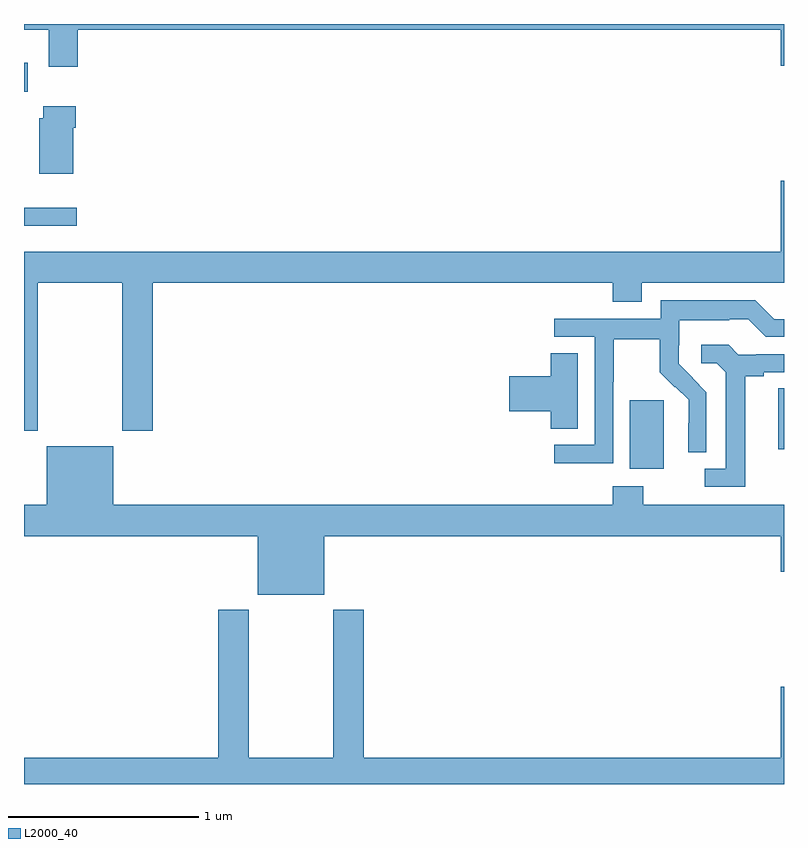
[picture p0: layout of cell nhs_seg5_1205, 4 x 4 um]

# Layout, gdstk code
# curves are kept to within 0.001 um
import gdstk
lib = gdstk.Library(unit=1e-6, precision=1e-09)
def R(c, l, rs):  # rectangles x0, y0, x1, y1
    for r in rs: c.add(gdstk.rectangle(r[:2], r[2:], *l))
def P(c, l, *ps):  # polygons
    for p in ps: c.add(gdstk.Polygon(p, *l))
L2000_40 = (2000, 40)

nhs_seg5_1205 = lib.new_cell('nhs_seg5_1205')
R(nhs_seg5_1205, L2000_40, [(188.189,846.458,188.368,846.819), (188.969,846.561,189,846.881), (185,847.736,185.278,847.833), (185,848.442,185.02,848.596)])
P(nhs_seg5_1205, L2000_40, [(185.282,848.768),(188.984,848.768),(188.984,848.58),(189,848.58),(189,848.799),(185,848.799),(185,848.768),(185.129,848.768),(185.129,848.574),(185.282,848.574)],
  [(185.26,848.252),(185.273,848.252),(185.273,848.365),(185.102,848.365),(185.102,848.304),(185.081,848.304),(185.081,848.012),(185.26,848.012)],
  [(185,846.657),(185.073,846.657),(185.073,847.436),(185.518,847.436),(185.518,846.657),(185.678,846.657),(185.678,847.436),(188.099,847.436),(188.099,847.337),(188.251,847.337),(188.251,847.436),(189,847.436),(189,847.975),(188.984,847.975),(188.984,847.6),(185,847.6)],
  [(188.1,846.916),(188.103,846.916),(188.103,847.14),(188.347,847.14),(188.347,846.965),(188.424,846.888),(188.427,846.891),(188.498,846.821),(188.498,846.698),(188.496,846.698),(188.496,846.544),(188.592,846.544),(188.592,846.862),(188.446,847.01),(188.446,847.107),(188.448,847.107),(188.448,847.241),(188.711,847.241),(188.711,847.245),(188.811,847.245),(188.904,847.152),(189,847.152),(189,847.245),(188.949,847.245),(188.849,847.345),(188.352,847.345),(188.352,847.248),(187.791,847.248),(187.791,847.152),(188.004,847.152),(188.004,846.585),(187.791,846.585),(187.791,846.487),(188.1,846.487)],
  [(188.797,846.944),(188.893,846.944),(188.893,846.966),(189,846.966),(189,847.062),(188.854,847.062),(188.854,847.059),(188.76,847.059),(188.708,847.111),(188.565,847.111),(188.565,847.014),(188.646,847.014),(188.693,846.967),(188.693,846.459),(188.583,846.459),(188.583,846.363),(188.797,846.363)],
  [(187.915,847.067),(187.772,847.067),(187.772,846.944),(187.554,846.944),(187.554,846.761),(187.772,846.761),(187.772,846.67),(187.915,846.67)],
  [(186.58,846.104),(188.984,846.104),(188.984,845.916),(189,845.916),(189,846.268),(188.259,846.268),(188.259,846.367),(188.099,846.367),(188.099,846.268),(185.47,846.268),(185.47,846.577),(185.12,846.577),(185.12,846.268),(185,846.268),(185,846.104),(186.23,846.104),(186.23,845.795),(186.58,845.795)],
  [(189,845.311),(188.984,845.311),(188.984,844.936),(186.788,844.936),(186.788,845.716),(186.628,845.716),(186.628,844.936),(186.183,844.936),(186.183,845.716),(186.023,845.716),(186.023,844.936),(185,844.936),(185,844.799),(189,844.799)])

lib.write_gds('nhs_seg5_1205.gds')
